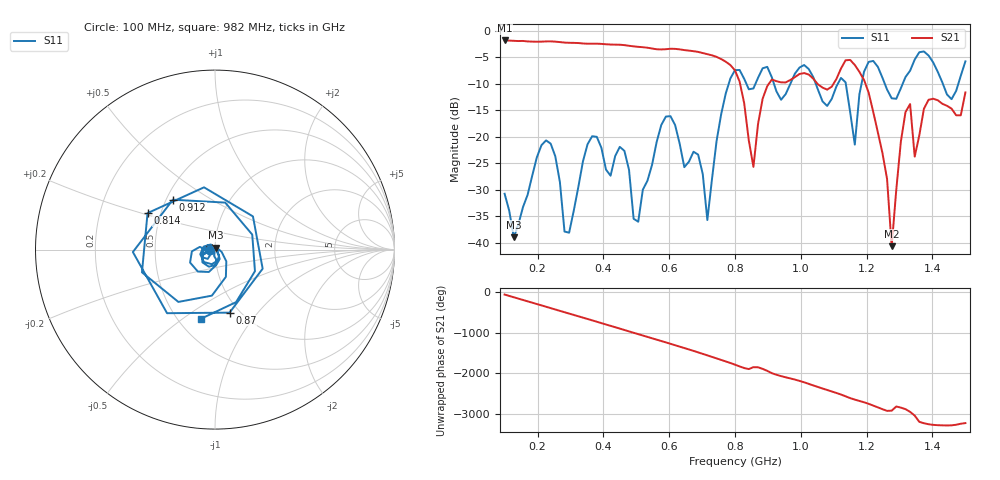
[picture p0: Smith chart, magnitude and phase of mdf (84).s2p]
! NanoVNA-App
! Date: 2025-09-25 15:39:05
! Start: 100MHz Stop: 1,5GHz Points: 101
! S-Parameter data: F S11 S21 S12 S22
# Hz S RI R 50
!  Frequency  S11_Real  S11_Imag  S21_Real  S21_Imag  S12_Real  S12_Imag  S22_Real  S22_Imag
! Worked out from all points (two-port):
!   101 points, 100 MHz to 1.5 GHz, reference 50 ohm
!   highest |S21| = -1.80 dB at 100 MHz (marker M1); lowest = -40.7 dB at 1.276 GHz (marker M2)
!   |S21| within 3 dB of the highest: start of sweep to 739 MHz
!   lowest |S11| = -39.0 dB at 128 MHz (marker M3), VSWR 1.02, Z = 50.3 + j1.07 ohm
!   |S11| at or under -10 dB: start of sweep to 780.9 MHz; 918.4 MHz to 968.2 MHz (49.77 MHz wide, 5.28 % of centre); 1.045 GHz to 1.112 GHz (66.85 MHz wide, 6.2 % of centre) (the widest 3 of 7)
!   S12 and S22 are empty: the file has one direction only
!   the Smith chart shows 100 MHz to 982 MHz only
!   S11 on the Smith chart (normalised r, x): 100 MHz: 0.94, -0.01; 814 MHz: 0.42, +0.21; 870 MHz: 0.90, -0.73; 912 MHz: 0.54, +0.35; 982 MHz: 0.64, -0.59
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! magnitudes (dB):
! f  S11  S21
! 100 MHz  -30.8  -1.8
! 128 MHz  -39.0  -1.9
! 212 MHz  -21.6  -2.0
! 282 MHz  -37.9  -2.2
! 338 MHz  -24.7  -2.4
! 464 MHz  -22.7  -2.7
! 506 MHz  -36.0  -3.0
! 576 MHz  -17.8  -3.5
! 716 MHz  -35.7  -4.4
! 800 MHz  -7.4  -7.5
! 814 MHz  -7.4  -9.6
! 856 MHz  -10.9  -25.7
! 870 MHz  -8.9  -17.6
! 912 MHz  -8.8  -9.2
! 982 MHz  -8.1  -8.7
! 1.038 GHz  -8.7  -9.0
! 1.164 GHz  -21.5  -6.4
! 1.192 GHz  -7.7  -9.3
! 1.276 GHz  -12.7  -40.7
! 1.318 GHz  -8.7  -15.3
! 1.346 GHz  -5.4  -23.8
! 1.5 GHz  -5.8  -11.6
